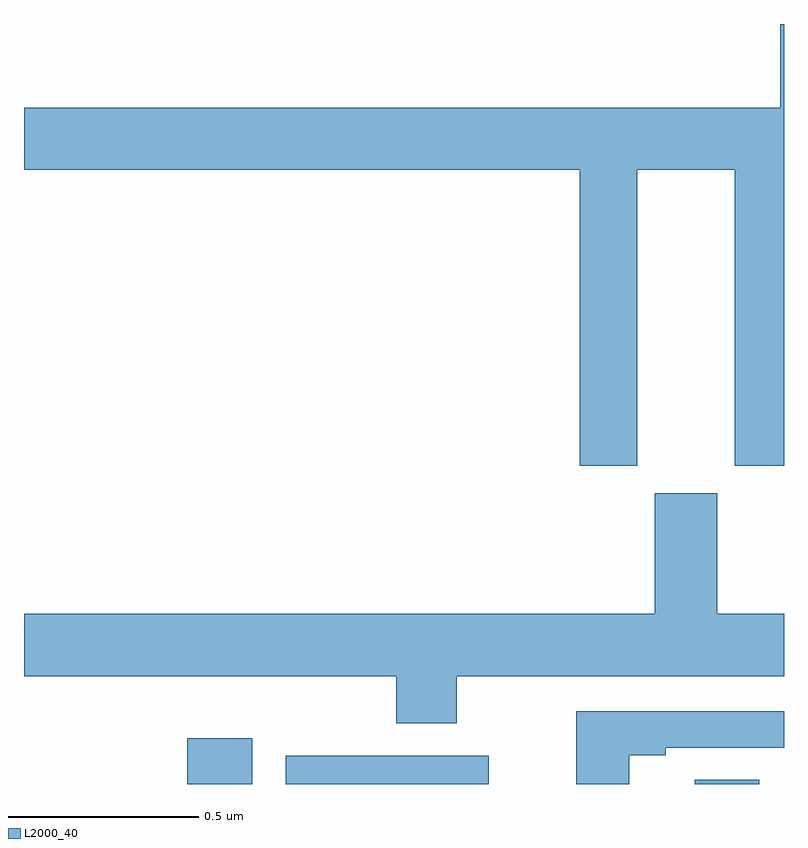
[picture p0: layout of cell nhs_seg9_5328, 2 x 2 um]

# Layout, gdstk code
import gdstk
lib = gdstk.Library(unit=1e-6, precision=1e-09)
def R(c, l, rs):  # rectangles x0, y0, x1, y1
    for r in rs: c.add(gdstk.rectangle(r[:2], r[2:], *l))
def P(c, l, *ps):  # polygons
    for p in ps: c.add(gdstk.Polygon(p, *l))
L2000_40 = (2000, 40)

nhs_seg9_5328 = lib.new_cell('nhs_seg9_5328')
R(nhs_seg9_5328, L2000_40, [(178.43,1165.5,178.6,1165.621), (178.689,1165.5,179.223,1165.575), (179.765,1165.5,179.935,1165.511)])
P(nhs_seg9_5328, L2000_40, [(179.614,1167.116),(179.87,1167.116),(179.87,1166.337),(180,1166.337),(180,1167.5),(179.99,1167.5),(179.99,1167.28),(178,1167.28),(178,1167.116),(179.462,1167.116),(179.462,1166.337),(179.614,1166.337)],
  [(179.139,1165.784),(180,1165.784),(180,1165.948),(179.824,1165.948),(179.824,1166.265),(179.66,1166.265),(179.66,1165.948),(178,1165.948),(178,1165.784),(178.979,1165.784),(178.979,1165.66),(179.139,1165.66)],
  [(179.593,1165.576),(179.689,1165.576),(179.689,1165.596),(180,1165.596),(180,1165.692),(179.453,1165.692),(179.453,1165.5),(179.593,1165.5)])

lib.write_gds('nhs_seg9_5328.gds')
